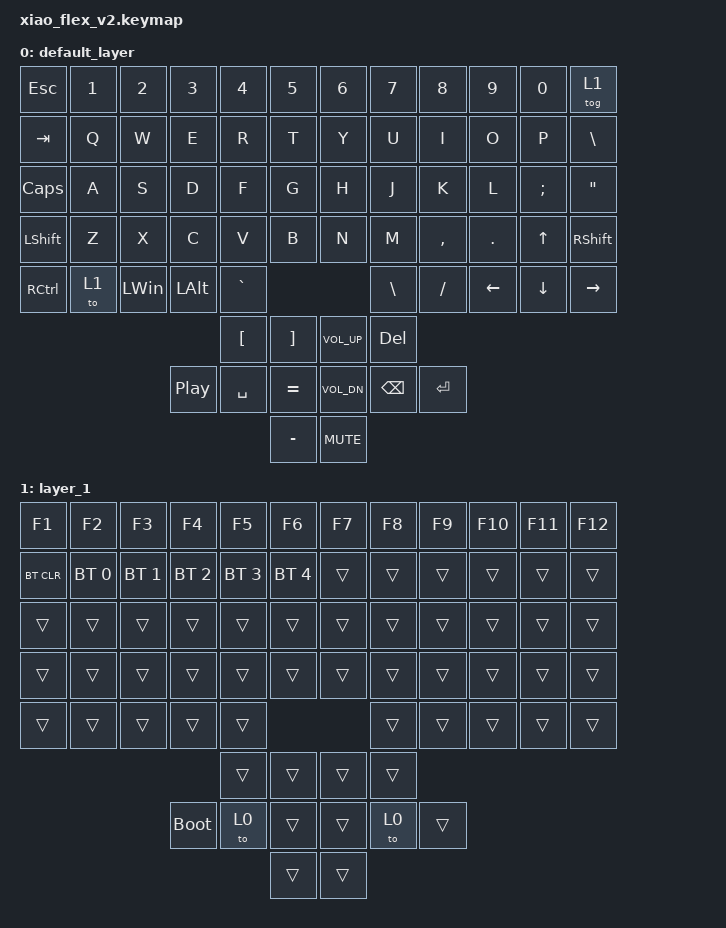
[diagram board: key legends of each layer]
/*
 * Copyright (c) 2020 The ZMK Contributors
 *
 * SPDX-License-Identifier: MIT
 */

#include <behaviors.dtsi>
#include <dt-bindings/zmk/bt.h>
#include <dt-bindings/zmk/keys.h>

/ {
    keymap {
        compatible = "zmk,keymap";

        default_layer {
            bindings = <
&kp ESC    &kp N1  &kp N2        &kp N3            &kp N4            &kp N5               &kp N6           &kp N7         &kp N8      &kp N9    &kp N0        &tog 1
&kp TAB    &kp Q   &kp W         &kp E             &kp R             &kp T                &kp Y            &kp U          &kp I       &kp O     &kp P         &kp BACKSLASH
&kp CAPS   &kp A   &kp S         &kp D             &kp F             &kp G                &kp H            &kp J          &kp K       &kp L     &kp SEMI      &kp DOUBLE_QUOTES
&kp LSHFT  &kp Z   &kp X         &kp C             &kp V             &kp B                &kp N            &kp M          &kp COMMA   &kp DOT   &kp UP_ARROW  &kp RSHFT
&kp RCTRL  &to 1   &kp LEFT_WIN  &kp LEFT_ALT      &kp GRAVE                                               &kp BACKSLASH  &kp SLASH   &kp LEFT  &kp DOWN      &kp RIGHT

                                                   &kp LEFT_BRACKET  &kp RIGHT_BRACKET    &kp C_VOLUME_UP  &kp DELETE
                                 &kp C_PLAY_PAUSE  &kp SPACE         &kp EQUAL            &kp C_VOL_DN     &kp BACKSPACE  &kp RETURN
                                                                     &kp MINUS            &kp K_MUTE
            >;
        };

        layer_1 {
            bindings = <
&kp F1      &kp F2        &kp F3        &kp F4        &kp F5        &kp F6          &kp F7  &kp F8  &kp F9  &kp F10  &kp F11  &kp F12
&bt BT_CLR  &bt BT_SEL 0  &bt BT_SEL 1  &bt BT_SEL 2  &bt BT_SEL 3  &bt BT_SEL 4    &trans  &trans  &trans  &trans   &trans   &trans
&trans      &trans        &trans        &trans        &trans        &trans          &trans  &trans  &trans  &trans   &trans   &trans
&trans      &trans        &trans        &trans        &trans        &trans          &trans  &trans  &trans  &trans   &trans   &trans
&trans      &trans        &trans        &trans        &trans                                &trans  &trans  &trans   &trans   &trans

                                                      &trans        &trans          &trans  &trans
                                        &bootloader   &to 0         &trans          &trans  &to 0   &trans
                                                                    &trans          &trans
            >;
        };
    };
};
